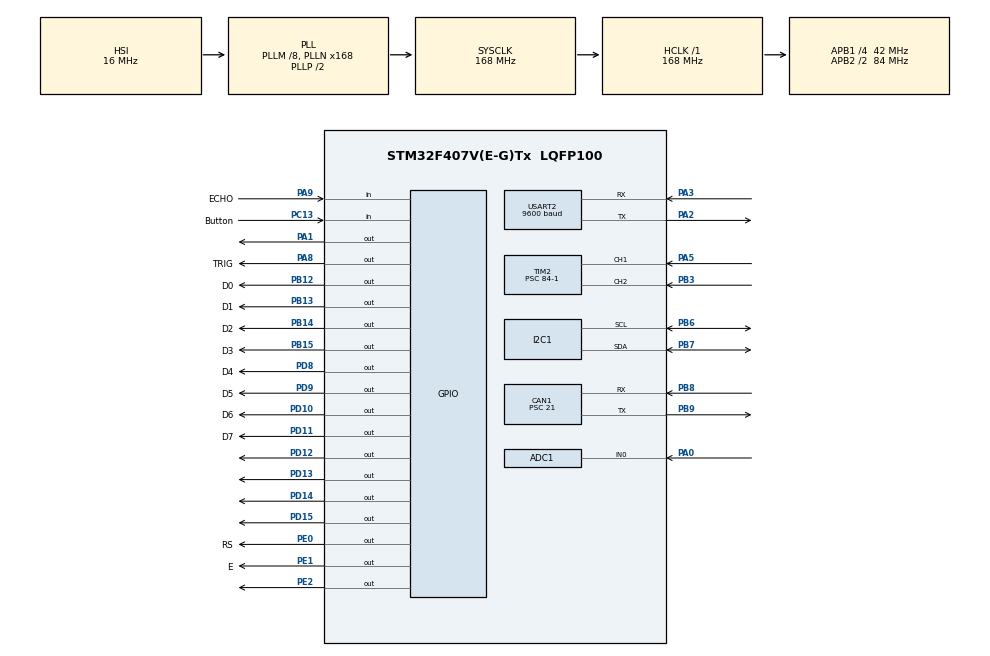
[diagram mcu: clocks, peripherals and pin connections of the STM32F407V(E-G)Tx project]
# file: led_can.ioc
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ADC1.Channel-1\#ChannelRegularConversion=ADC_CHANNEL_0
ADC1.NbrOfConversionFlag=1
ADC1.Rank-1\#ChannelRegularConversion=1
ADC1.SamplingTime-1\#ChannelRegularConversion=ADC_SAMPLETIME_3CYCLES
ADC1.master=1
CAN1.BS1=CAN_BS1_12TQ
CAN1.BS2=CAN_BS2_4TQ
CAN1.CalculateBaudRate=117647
CAN1.CalculateTimeBit=8500
CAN1.CalculateTimeQuantum=500.0
CAN1.Prescaler=21
Mcu.Family=STM32F4
Mcu.Name=STM32F407V(E-G)Tx
Mcu.Package=LQFP100
NVIC.CAN1_RX0_IRQn=true\:0\:2\:false\:false\:true\:true\:true\:true
NVIC.CAN1_RX1_IRQn=true\:0\:0\:false\:false\:true\:true\:true\:true
NVIC.PriorityGroup=NVIC_PRIORITYGROUP_0
NVIC.TIM2_IRQn=true\:0\:0\:false\:false\:true\:true\:true\:true
PA0-WKUP.Signal=ADCx_IN0
PA1.Signal=GPIO_Output
PA2.Mode=Asynchronous
PA2.Signal=USART2_TX
PA3.Mode=Asynchronous
PA3.Signal=USART2_RX
PA5.Signal=S_TIM2_CH1_ETR
PA8.GPIO_Label=TRIG
PA8.Signal=GPIO_Output
PA9.GPIO_Label=ECHO
PA9.Signal=GPIO_Input
PB12.GPIO_Label=D0
PB12.Signal=GPIO_Output
PB13.GPIO_Label=D1
PB13.Signal=GPIO_Output
PB14.GPIO_Label=D2
PB14.Signal=GPIO_Output
PB15.GPIO_Label=D3
PB15.Signal=GPIO_Output
PB3.Signal=S_TIM2_CH2
PB6.Mode=I2C
PB6.Signal=I2C1_SCL
PB7.Mode=I2C
PB7.Signal=I2C1_SDA
PB8.Mode=CAN_Activate
PB8.Signal=CAN1_RX
PB9.Mode=CAN_Activate
PB9.Signal=CAN1_TX
PC13-ANTI_TAMP.GPIO_Label=Button
PC13-ANTI_TAMP.Signal=GPIO_Input
PD10.GPIO_Label=D6
PD10.Signal=GPIO_Output
PD11.GPIO_Label=D7
PD11.Signal=GPIO_Output
PD12.Signal=GPIO_Output
PD13.Signal=GPIO_Output
PD14.Signal=GPIO_Output
PD15.Signal=GPIO_Output
PD8.GPIO_Label=D4
PD8.Signal=GPIO_Output
PD9.GPIO_Label=D5
PD9.Signal=GPIO_Output
PE0.GPIO_Label=RS
PE0.Signal=GPIO_Output
PE1.GPIO_Label=E
PE1.GPIO_ModeDefaultOutputPP=GPIO_MODE_OUTPUT_OD
PE1.GPIO_PuPd=GPIO_NOPULL
PE1.GPIO_Speed=GPIO_SPEED_FREQ_MEDIUM
PE1.PinState=GPIO_PIN_SET
PE1.Signal=GPIO_Output
PE2.GPIO_ModeDefaultOutputPP=GPIO_MODE_OUTPUT_OD
PE2.GPIO_PuPd=GPIO_NOPULL
PE2.GPIO_Speed=GPIO_SPEED_FREQ_MEDIUM
PE2.PinState=GPIO_PIN_SET
PE2.Signal=GPIO_Output
PH0-OSC_IN.Mode=HSE-External-Oscillator
PH0-OSC_IN.Signal=RCC_OSC_IN
PH1-OSC_OUT.Mode=HSE-External-Oscillator
PH1-OSC_OUT.Signal=RCC_OSC_OUT
ProjectManager.HeapSize=0x200
ProjectManager.StackSize=0x400
ProjectManager.TargetToolchain=STM32CubeIDE
RCC.48MHZClocksFreq_Value=48000000
RCC.AHBFreq_Value=168000000
RCC.APB1CLKDivider=RCC_HCLK_DIV4
RCC.APB1Freq_Value=42000000
RCC.APB1TimFreq_Value=84000000
RCC.APB2CLKDivider=RCC_HCLK_DIV2
RCC.APB2Freq_Value=84000000
RCC.APB2TimFreq_Value=168000000
RCC.CortexFreq_Value=168000000
RCC.HCLKFreq_Value=168000000
RCC.HSE_VALUE=8000000
RCC.HSI_VALUE=16000000
RCC.LSE_VALUE=32768
RCC.PLLM=8
RCC.PLLN=168
RCC.PLLQ=7
RCC.SYSCLKFreq_VALUE=168000000
RCC.SYSCLKSource=RCC_SYSCLKSOURCE_PLLCLK
RCC.VCOOutputFreq_Value=336000000
SH.ADCx_IN0.0=ADC1_IN0,IN0
SH.S_TIM2_CH1_ETR.0=TIM2_CH1,Input_Capture1_from_TI1
SH.S_TIM2_CH2.0=TIM2_CH2,Input_Capture2_from_TI2
TIM2.Channel-Input_Capture1_from_TI1=TIM_CHANNEL_1
TIM2.Channel-Input_Capture2_from_TI2=TIM_CHANNEL_2
TIM2.Prescaler=84-1
TIM4.Prescaler=168-1
USART2.BaudRate=9600
USART2.VirtualMode=VM_ASYNC
VP_TIM4_VS_ClockSourceINT.Mode=Internal
board=STM32F407G-DISC1

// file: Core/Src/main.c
/* USER CODE BEGIN Header */
/**
 ******************************************************************************
 * @file           : main.c
 * @brief          : Main program body
 ******************************************************************************
 * @attention
 *
 * Copyright (c) 2022 STMicroelectronics.
 * All rights reserved.
 *
 * This software is licensed under terms that can be found in the LICENSE file
 * in the root directory of this software component.
 * If no LICENSE file comes with this software, it is provided AS-IS.
 *
 ******************************************************************************
 */
/* USER CODE END Header */
#include "main.h"

/* USER CODE BEGIN Includes */
//#include "STM_MY_LCD16X2.h"
#include <stdio.h>
#include <string.h>
#include <stdlib.h>
#include "i2c-lcd.h"
/* USER CODE END Includes */

/* USER CODE BEGIN PTD */
#define usTIM TIM4

/* USER CODE END PTD */

ADC_HandleTypeDef hadc1;

CAN_HandleTypeDef hcan1;

I2C_HandleTypeDef hi2c1;

TIM_HandleTypeDef htim2;
TIM_HandleTypeDef htim4;

UART_HandleTypeDef huart2;

/* USER CODE BEGIN PV */

CAN_HandleTypeDef hcan1;
CAN_TxHeaderTypeDef TxHeader1;
CAN_RxHeaderTypeDef RxHeader1;
uint32_t TxMailbox1;
uint8_t data1[8], rxdata[8];
int some = 0;
CAN_FilterTypeDef sFilterConfig;
char str1[30];
char str[30];
int len;
const float speedOfSound = 0.0343 / 2;
float distance;
char uartBuf[100];
char adcBuf[100];

uint32_t milisec1 = 0;
uint32_t milisec2 = 0;
uint8_t speed = 0;
uint32_t time = 0;
uint32_t factor = 0;
char irbuf[100];

/* USER CODE END PV */

void SystemClock_Config(void);
static void MX_GPIO_Init(void);
static void MX_CAN1_Init(void);
static void MX_USART2_UART_Init(void);
static void MX_ADC1_Init(void);
static void MX_TIM4_Init(void);
static void MX_I2C1_Init(void);
static void MX_TIM2_Init(void);
/* USER CODE BEGIN PFP */

void usDelay(uint32_t usec);
int count = 0;
uint32_t first = 0;

/* USER CODE END PFP */

/* USER CODE BEGIN 0 */
 void HAL_TIM_IC_CaptureCallback(TIM_HandleTypeDef *htim)
{
     if (htim->Channel == HAL_TIM_ACTIVE_CHANNEL_1)
     {
     	milisec1 = HAL_GetTick();
     	first = milisec1;
     	count++;
     	HAL_GPIO_WritePin(GPIOD, GPIO_PIN_15, GPIO_PIN_SET);

     }

     else if (htim->Channel == HAL_TIM_ACTIVE_CHANNEL_2)
     	// If the first rising edge is captured, now we will capture the second edge
     {
         count++;
         milisec2 = HAL_GetTick();

         __HAL_TIM_SET_COUNTER(htim, 0); // reset the counter
                                         // set it back to false
     }

     if (count==2)
     {

         time = milisec2 - first;

         speed = 20000/time;

         data1[2]= speed;

        sprintf(irbuf, "speed %u \r\n", data1[2]);
        HAL_UART_Transmit(&huart2, (uint8_t *)irbuf, strlen(irbuf), HAL_MAX_DELAY);
        count = 0;
     }

}

/* USER CODE END 0 */

int main(void)
{
  /* USER CODE BEGIN 1 */
    uint32_t numTicks = 0;
    uint32_t adcvalue;
    float Temp;

  /* USER CODE END 1 */

  /* MCU Configuration--------------------------------------------------------*/

  /* Reset of all peripherals, Initializes the Flash interface and the Systick. */
  HAL_Init();

  /* Configure the system clock */
  SystemClock_Config();

  /* Initialize all configured peripherals */
  MX_GPIO_Init();
  MX_CAN1_Init();
  MX_USART2_UART_Init();
  MX_ADC1_Init();
  MX_TIM4_Init();
  MX_I2C1_Init();
  MX_TIM2_Init();
  /* USER CODE BEGIN 2 */

    HAL_TIM_IC_Start_IT(&htim2, TIM_CHANNEL_1);
    HAL_TIM_IC_Start_IT(&htim2, TIM_CHANNEL_2);

    HAL_CAN_Start(&hcan1);
    HAL_ADC_Start(&hadc1);
    HAL_CAN_ActivateNotification(&hcan1, CAN_IT_RX_FIFO0_MSG_PENDING);

    TxHeader1.DLC = 8;
    TxHeader1.IDE = CAN_ID_STD;
    TxHeader1.RTR = CAN_RTR_DATA;
    TxHeader1.StdId = 0x103;
    TxHeader1.ExtId = 0;

    sFilterConfig.FilterFIFOAssignment = CAN_FILTER_FIFO0;
    sFilterConfig.FilterIdHigh = 0x103 << 5;
    sFilterConfig.FilterIdLow = 0x0000;
    sFilterConfig.FilterMaskIdHigh = 0x103 << 5;
    sFilterConfig.FilterMaskIdLow = 0x0000;
    sFilterConfig.FilterScale = CAN_FILTERSCALE_32BIT;
    sFilterConfig.FilterActivation = ENABLE;
    HAL_CAN_ConfigFilter(&hcan1, &sFilterConfig);

  /* USER CODE END 2 */

  /* Infinite loop */
  /* USER CODE BEGIN WHILE */
    sprintf(str, "WELCOME\r\n");
    HAL_UART_Transmit(&huart2, (uint8_t *)str, strlen(str), HAL_MAX_DELAY);
    HAL_Delay(1000);
    while (1)
    {

        	  HAL_GPIO_WritePin(TRIG_GPIO_Port, TRIG_Pin, GPIO_PIN_RESET);
        	  usDelay(3);

        	  HAL_GPIO_WritePin(TRIG_GPIO_Port, TRIG_Pin, GPIO_PIN_SET);
        	  usDelay(10);
        	  HAL_GPIO_WritePin(TRIG_GPIO_Port, TRIG_Pin, GPIO_PIN_RESET);

        	  while(HAL_GPIO_ReadPin(ECHO_GPIO_Port, ECHO_Pin) == GPIO_PIN_RESET);
        	  numTicks = 0;

        	  while(HAL_GPIO_ReadPin(ECHO_GPIO_Port, ECHO_Pin) == GPIO_PIN_SET)
        	  	  		{
        	  	  			numTicks++;
        	  	  			usDelay(2); //2.8usec
        	  	  		};
        	  distance = (numTicks + 0.0f)*2.8*speedOfSound;

        	  data1[0]=  distance;
        	  sprintf(uartBuf, " Distance (cm)  = %.d\r\n ", data1[0]);
//        	  HAL_UART_Transmit(&huart2, (uint8_t *)uartBuf, strlen(uartBuf), 100);
        	  HAL_Delay(2000);

        	  HAL_ADC_Start(&hadc1);
        	  HAL_ADC_PollForConversion(&hadc1, HAL_MAX_DELAY);
        	  adcvalue = HAL_ADC_GetValue(&hadc1);
        	  HAL_ADC_Stop(&hadc1);
        	  //tempvolt=(adcvalue *0.0732 );
        	  data1[1]= adcvalue;
        	  sprintf(adcBuf, "Temp (celcius)  = %.d\r\n", data1[1]);
//        	  HAL_UART_Transmit(&huart2, (uint8_t *)adcBuf, strlen(uartBuf), 100);
        	  HAL_Delay(2000);

         	 HAL_GPIO_WritePin(GPIOD, GPIO_PIN_12, GPIO_PIN_SET);
             HAL_CAN_AddTxMessage(&hcan1, &TxHeader1, data1, &TxMailbox1);
        	 HAL_Delay(2000);

//        if (some == 1)
//        {
//			  sprintf(str1, "speed km/h = %d", rxdata[2]);
////	  	  HAL_UART_Transmit(&huart2, (uint8_t*)str1, strlen(str1), HAL_MAX_DELAY);
////		  HAL_Delay(1000);
//
////            		sprintf(str, "speed km/s =%d", rxdata[2]);
//            		lcd_init();
//					lcd_send_string(str1);
//					HAL_Delay(1000);
//					lcd_send_cmd(LCD_CLEAR_DISPLAY);
//
//            milisec1 = 0;
//            milisec2 = 0;
//            if (rxdata[2] > 60)
//            {
//                HAL_GPIO_WritePin(GPIOD, GPIO_PIN_13, GPIO_PIN_SET);
//            }
//            else
//            {
//                HAL_GPIO_WritePin(GPIOD, GPIO_PIN_13, GPIO_PIN_RESET);
//            }
//
//
//            if (rxdata[0] < 15)
//            {
//                HAL_GPIO_WritePin(GPIOD, GPIO_PIN_15, GPIO_PIN_SET);
//            }
//            else
//            {
//                HAL_GPIO_WritePin(GPIOD, GPIO_PIN_15, GPIO_PIN_RESET);
//            }
//
////            sprintf(str1, "Distance(cm) = %d\r\n", rxdata[0]);
////            		HAL_UART_Transmit(&huart2, (uint8_t *)str1, strlen(str1), HAL_MAX_DELAY);
////                	HAL_Delay(1000);
//
//
//            sprintf(str, "Distance(cm)=%d", rxdata[0]);
//            lcd_init();
//            lcd_send_string(str);
//            HAL_Delay(1000);
//            lcd_send_cmd(LCD_CLEAR_DISPLAY);
//
//
//            Temp = (rxdata[1] * 3.5 * 0.0732);
////            sprintf(str1, "Temp(c) = %f\r\n", Temp);
////            		HAL_UART_Transmit(&huart2, (uint8_t *)str1, strlen(str1), HAL_MAX_DELAY);
////                	HAL_Delay(1000);
//
//
//            sprintf(str, "Temp(c)=%f", Temp);
//            lcd_init();
//            lcd_send_string(str);
//            HAL_Delay(1000);
//            lcd_send_cmd(LCD_CLEAR_DISPLAY);
//
//            some = 0;
//        }

    /* USER CODE END WHILE */

    }
}

void SystemClock_Config(void)
{
  RCC_OscInitTypeDef RCC_OscInitStruct = {0};
  RCC_ClkInitTypeDef RCC_ClkInitStruct = {0};

  /** Configure the main internal regulator output voltage
  */
  __HAL_RCC_PWR_CLK_ENABLE();
  __HAL_PWR_VOLTAGESCALING_CONFIG(PWR_REGULATOR_VOLTAGE_SCALE1);

  /** Initializes the RCC Oscillators according to the specified parameters
  * in the RCC_OscInitTypeDef structure.
  */
  RCC_OscInitStruct.OscillatorType = RCC_OSCILLATORTYPE_HSI;
  RCC_OscInitStruct.HSIState = RCC_HSI_ON;
  RCC_OscInitStruct.HSICalibrationValue = RCC_HSICALIBRATION_DEFAULT;
  RCC_OscInitStruct.PLL.PLLState = RCC_PLL_ON;
  RCC_OscInitStruct.PLL.PLLSource = RCC_PLLSOURCE_HSI;
  RCC_OscInitStruct.PLL.PLLM = 8;
  RCC_OscInitStruct.PLL.PLLN = 168;
  RCC_OscInitStruct.PLL.PLLP = RCC_PLLP_DIV2;
  RCC_OscInitStruct.PLL.PLLQ = 7;
  if (HAL_RCC_OscConfig(&RCC_OscInitStruct) != HAL_OK)
  {
    Error_Handler();
  }

  /** Initializes the CPU, AHB and APB buses clocks
  */
  RCC_ClkInitStruct.ClockType = RCC_CLOCKTYPE_HCLK|RCC_CLOCKTYPE_SYSCLK
                              |RCC_CLOCKTYPE_PCLK1|RCC_CLOCKTYPE_PCLK2;
  RCC_ClkInitStruct.SYSCLKSource = RCC_SYSCLKSOURCE_PLLCLK;
  RCC_ClkInitStruct.AHBCLKDivider = RCC_SYSCLK_DIV1;
  RCC_ClkInitStruct.APB1CLKDivider = RCC_HCLK_DIV4;
  RCC_ClkInitStruct.APB2CLKDivider = RCC_HCLK_DIV2;

  if (HAL_RCC_ClockConfig(&RCC_ClkInitStruct, FLASH_LATENCY_5) != HAL_OK)
  {
    Error_Handler();
  }
}

static void MX_ADC1_Init(void)
{

  ADC_ChannelConfTypeDef sConfig = {0};

  /** Configure the global features of the ADC (Clock, Resolution, Data Alignment and number of conversion)
  */
  hadc1.Instance = ADC1;
  hadc1.Init.ClockPrescaler = ADC_CLOCK_SYNC_PCLK_DIV4;
  hadc1.Init.Resolution = ADC_RESOLUTION_12B;
  hadc1.Init.ScanConvMode = DISABLE;
  hadc1.Init.ContinuousConvMode = DISABLE;
  hadc1.Init.DiscontinuousConvMode = DISABLE;
  hadc1.Init.ExternalTrigConvEdge = ADC_EXTERNALTRIGCONVEDGE_NONE;
  hadc1.Init.ExternalTrigConv = ADC_SOFTWARE_START;
  hadc1.Init.DataAlign = ADC_DATAALIGN_RIGHT;
  hadc1.Init.NbrOfConversion = 1;
  hadc1.Init.DMAContinuousRequests = DISABLE;
  hadc1.Init.EOCSelection = ADC_EOC_SINGLE_CONV;
  if (HAL_ADC_Init(&hadc1) != HAL_OK)
  {
    Error_Handler();
  }

  /** Configure for the selected ADC regular channel its corresponding rank in the sequencer and its sample time.
  */
  sConfig.Channel = ADC_CHANNEL_0;
  sConfig.Rank = 1;
  sConfig.SamplingTime = ADC_SAMPLETIME_3CYCLES;
  if (HAL_ADC_ConfigChannel(&hadc1, &sConfig) != HAL_OK)
  {
    Error_Handler();
  }

}

static void MX_CAN1_Init(void)
{

  hcan1.Instance = CAN1;
  hcan1.Init.Prescaler = 21;
  hcan1.Init.Mode = CAN_MODE_NORMAL;
  hcan1.Init.SyncJumpWidth = CAN_SJW_1TQ;
  hcan1.Init.TimeSeg1 = CAN_BS1_12TQ;
  hcan1.Init.TimeSeg2 = CAN_BS2_4TQ;
  hcan1.Init.TimeTriggeredMode = DISABLE;
  hcan1.Init.AutoBusOff = DISABLE;
  hcan1.Init.AutoWakeUp = DISABLE;
  hcan1.Init.AutoRetransmission = DISABLE;
  hcan1.Init.ReceiveFifoLocked = DISABLE;
  hcan1.Init.TransmitFifoPriority = DISABLE;
  if (HAL_CAN_Init(&hcan1) != HAL_OK)
  {
    Error_Handler();
  }

}

static void MX_I2C1_Init(void)
{

  hi2c1.Instance = I2C1;
  hi2c1.Init.ClockSpeed = 100000;
  hi2c1.Init.DutyCycle = I2C_DUTYCYCLE_2;
  hi2c1.Init.OwnAddress1 = 0;
  hi2c1.Init.AddressingMode = I2C_ADDRESSINGMODE_7BIT;
  hi2c1.Init.DualAddressMode = I2C_DUALADDRESS_DISABLE;
  hi2c1.Init.OwnAddress2 = 0;
  hi2c1.Init.GeneralCallMode = I2C_GENERALCALL_DISABLE;
  hi2c1.Init.NoStretchMode = I2C_NOSTRETCH_DISABLE;
  if (HAL_I2C_Init(&hi2c1) != HAL_OK)
  {
    Error_Handler();
  }

}

static void MX_TIM2_Init(void)
{

  TIM_MasterConfigTypeDef sMasterConfig = {0};
  TIM_IC_InitTypeDef sConfigIC = {0};

  htim2.Instance = TIM2;
  htim2.Init.Prescaler = 84-1;
  htim2.Init.CounterMode = TIM_COUNTERMODE_UP;
  htim2.Init.Period = 4294967295;
  htim2.Init.ClockDivision = TIM_CLOCKDIVISION_DIV1;
  htim2.Init.AutoReloadPreload = TIM_AUTORELOAD_PRELOAD_DISABLE;
  if (HAL_TIM_IC_Init(&htim2) != HAL_OK)
  {
    Error_Handler();
  }
  sMasterConfig.MasterOutputTrigger = TIM_TRGO_RESET;
  sMasterConfig.MasterSlaveMode = TIM_MASTERSLAVEMODE_DISABLE;
  if (HAL_TIMEx_MasterConfigSynchronization(&htim2, &sMasterConfig) != HAL_OK)
  {
    Error_Handler();
  }
  sConfigIC.ICPolarity = TIM_INPUTCHANNELPOLARITY_RISING;
  sConfigIC.ICSelection = TIM_ICSELECTION_DIRECTTI;
  sConfigIC.ICPrescaler = TIM_ICPSC_DIV1;
  sConfigIC.ICFilter = 0;
  if (HAL_TIM_IC_ConfigChannel(&htim2, &sConfigIC, TIM_CHANNEL_1) != HAL_OK)
  {
    Error_Handler();
  }
  if (HAL_TIM_IC_ConfigChannel(&htim2, &sConfigIC, TIM_CHANNEL_2) != HAL_OK)
  {
    Error_Handler();
  }

}

static void MX_TIM4_Init(void)
{

  TIM_ClockConfigTypeDef sClockSourceConfig = {0};
  TIM_MasterConfigTypeDef sMasterConfig = {0};

  htim4.Instance = TIM4;
  htim4.Init.Prescaler = 168-1;
  htim4.Init.CounterMode = TIM_COUNTERMODE_UP;
  htim4.Init.Period = 65535;
  htim4.Init.ClockDivision = TIM_CLOCKDIVISION_DIV1;
  htim4.Init.AutoReloadPreload = TIM_AUTORELOAD_PRELOAD_DISABLE;
  if (HAL_TIM_Base_Init(&htim4) != HAL_OK)
  {
    Error_Handler();
  }
  sClockSourceConfig.ClockSource = TIM_CLOCKSOURCE_INTERNAL;
  if (HAL_TIM_ConfigClockSource(&htim4, &sClockSourceConfig) != HAL_OK)
  {
    Error_Handler();
  }
  sMasterConfig.MasterOutputTrigger = TIM_TRGO_RESET;
  sMasterConfig.MasterSlaveMode = TIM_MASTERSLAVEMODE_DISABLE;
  if (HAL_TIMEx_MasterConfigSynchronization(&htim4, &sMasterConfig) != HAL_OK)
  {
    Error_Handler();
  }

}

static void MX_USART2_UART_Init(void)
{

  huart2.Instance = USART2;
  huart2.Init.BaudRate = 9600;
  huart2.Init.WordLength = UART_WORDLENGTH_8B;
  huart2.Init.StopBits = UART_STOPBITS_1;
  huart2.Init.Parity = UART_PARITY_NONE;
  huart2.Init.Mode = UART_MODE_TX_RX;
  huart2.Init.HwFlowCtl = UART_HWCONTROL_NONE;
  huart2.Init.OverSampling = UART_OVERSAMPLING_16;
  if (HAL_UART_Init(&huart2) != HAL_OK)
  {
    Error_Handler();
  }

}

static void MX_GPIO_Init(void)
{
  GPIO_InitTypeDef GPIO_InitStruct = {0};

  /* GPIO Ports Clock Enable */
  __HAL_RCC_GPIOE_CLK_ENABLE();
  __HAL_RCC_GPIOC_CLK_ENABLE();
  __HAL_RCC_GPIOH_CLK_ENABLE();
  __HAL_RCC_GPIOA_CLK_ENABLE();
  __HAL_RCC_GPIOB_CLK_ENABLE();
  __HAL_RCC_GPIOD_CLK_ENABLE();

  /*Configure GPIO pin Output Level */
  HAL_GPIO_WritePin(GPIOE, GPIO_PIN_2|E_Pin, GPIO_PIN_SET);

  /*Configure GPIO pin Output Level */
  HAL_GPIO_WritePin(GPIOA, GPIO_PIN_1|TRIG_Pin, GPIO_PIN_RESET);

  /*Configure GPIO pin Output Level */
  HAL_GPIO_WritePin(GPIOB, D0_Pin|D1_Pin|D2_Pin|D3_Pin, GPIO_PIN_RESET);

  /*Configure GPIO pin Output Level */
  HAL_GPIO_WritePin(GPIOD, D4_Pin|D5_Pin|D6_Pin|D7_Pin
                          |GPIO_PIN_12|GPIO_PIN_13|GPIO_PIN_14|GPIO_PIN_15, GPIO_PIN_RESET);

  /*Configure GPIO pin Output Level */
  HAL_GPIO_WritePin(RS_GPIO_Port, RS_Pin, GPIO_PIN_RESET);

  /*Configure GPIO pins : PE2 E_Pin */
  GPIO_InitStruct.Pin = GPIO_PIN_2|E_Pin;
  GPIO_InitStruct.Mode = GPIO_MODE_OUTPUT_OD;
  GPIO_InitStruct.Pull = GPIO_NOPULL;
  GPIO_InitStruct.Speed = GPIO_SPEED_FREQ_MEDIUM;
  HAL_GPIO_Init(GPIOE, &GPIO_InitStruct);

  /*Configure GPIO pin : Button_Pin */
  GPIO_InitStruct.Pin = Button_Pin;
  GPIO_InitStruct.Mode = GPIO_MODE_INPUT;
  GPIO_InitStruct.Pull = GPIO_NOPULL;
  HAL_GPIO_Init(Button_GPIO_Port, &GPIO_InitStruct);

  /*Configure GPIO pins : PA1 TRIG_Pin */
  GPIO_InitStruct.Pin = GPIO_PIN_1|TRIG_Pin;
  GPIO_InitStruct.Mode = GPIO_MODE_OUTPUT_PP;
  GPIO_InitStruct.Pull = GPIO_NOPULL;
  GPIO_InitStruct.Speed = GPIO_SPEED_FREQ_LOW;
  HAL_GPIO_Init(GPIOA, &GPIO_InitStruct);

  /*Configure GPIO pins : D0_Pin D1_Pin D2_Pin D3_Pin */
  GPIO_InitStruct.Pin = D0_Pin|D1_Pin|D2_Pin|D3_Pin;
  GPIO_InitStruct.Mode = GPIO_MODE_OUTPUT_PP;
  GPIO_InitStruct.Pull = GPIO_NOPULL;
  GPIO_InitStruct.Speed = GPIO_SPEED_FREQ_LOW;
  HAL_GPIO_Init(GPIOB, &GPIO_InitStruct);

  /*Configure GPIO pins : D4_Pin D5_Pin D6_Pin D7_Pin
                           PD12 PD13 PD14 PD15 */
  GPIO_InitStruct.Pin = D4_Pin|D5_Pin|D6_Pin|D7_Pin
                          |GPIO_PIN_12|GPIO_PIN_13|GPIO_PIN_14|GPIO_PIN_15;
  GPIO_InitStruct.Mode = GPIO_MODE_OUTPUT_PP;
  GPIO_InitStruct.Pull = GPIO_NOPULL;
  GPIO_InitStruct.Speed = GPIO_SPEED_FREQ_LOW;
  HAL_GPIO_Init(GPIOD, &GPIO_InitStruct);

  /*Configure GPIO pin : ECHO_Pin */
  GPIO_InitStruct.Pin = ECHO_Pin;
  GPIO_InitStruct.Mode = GPIO_MODE_INPUT;
  GPIO_InitStruct.Pull = GPIO_NOPULL;
  HAL_GPIO_Init(ECHO_GPIO_Port, &GPIO_InitStruct);

  /*Configure GPIO pin : RS_Pin */
  GPIO_InitStruct.Pin = RS_Pin;
  GPIO_InitStruct.Mode = GPIO_MODE_OUTPUT_PP;
  GPIO_InitStruct.Pull = GPIO_NOPULL;
  GPIO_InitStruct.Speed = GPIO_SPEED_FREQ_LOW;
  HAL_GPIO_Init(RS_GPIO_Port, &GPIO_InitStruct);

}

/* USER CODE BEGIN 4 */
void usDelay(uint32_t uSec)
{
    if (uSec < 2)
        uSec = 2;
    usTIM->ARR = uSec - 1; /*sets the value in the auto-reload register*/
    usTIM->EGR = 1;        /*Re-initialises the timer*/
    usTIM->SR &= ~1;       // Resets the flag
    usTIM->CR1 |= 1;       // Enables the counter
    while ((usTIM->SR & 0x0001) != 1)
        ;
    usTIM->SR &= ~(0x0001);
}

/* USER CODE END 4 */

void Error_Handler(void)
{
    __disable_irq();
    while (1)
    {
    }
}
